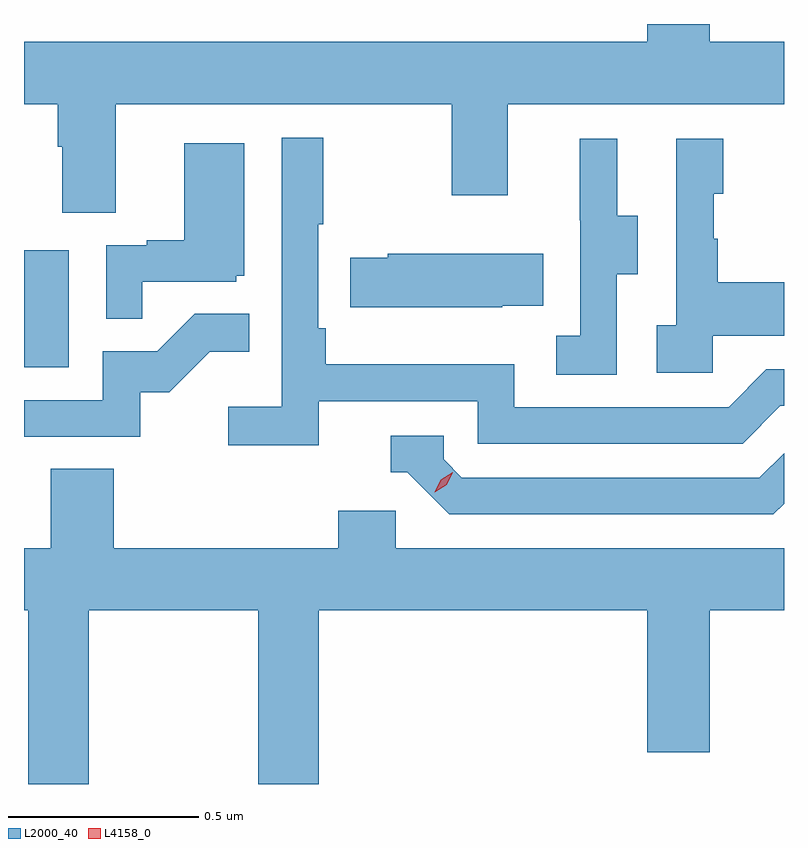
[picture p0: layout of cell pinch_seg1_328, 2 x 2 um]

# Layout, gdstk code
import gdstk
lib = gdstk.Library(unit=1e-6, precision=1e-09)
def R(c, l, rs):  # rectangles x0, y0, x1, y1
    for r in rs: c.add(gdstk.rectangle(r[:2], r[2:], *l))
def P(c, l, *ps):  # polygons
    for p in ps: c.add(gdstk.Polygon(p, *l))
L2000_40 = (2000, 40)
L4158_0 = (4158, 0)

pinch_seg1_328 = lib.new_cell('pinch_seg1_328')
R(pinch_seg1_328, L2000_40, [(990.54,552.372,990.658,552.679)])
P(pinch_seg1_328, L2000_40, [(990.781,553.064),(991.666,553.064),(991.666,552.825),(991.813,552.825),(991.813,553.064),(992.54,553.064),(992.54,553.228),(992.344,553.228),(992.344,553.275),(992.18,553.275),(992.18,553.228),(990.54,553.228),(990.54,553.064),(990.629,553.064),(990.629,552.952),(990.641,552.952),(990.641,552.778),(990.781,552.778)],
  [(991.316,552.282),(991.734,552.282),(991.734,552.171),(992.431,552.171),(992.53,552.27),(992.54,552.27),(992.54,552.366),(992.493,552.366),(992.394,552.267),(991.83,552.267),(991.83,552.379),(991.334,552.379),(991.334,552.475),(991.314,552.475),(991.314,552.748),(991.327,552.748),(991.327,552.976),(991.218,552.976),(991.218,552.268),(991.077,552.268),(991.077,552.166),(991.316,552.166)],
  [(992.1,552.616),(992.155,552.616),(992.155,552.771),(992.101,552.771),(992.101,552.973),(992.003,552.973),(992.003,552.759),(992.004,552.759),(992.004,552.455),(991.941,552.455),(991.941,552.352),(992.1,552.352)],
  [(992.352,552.455),(992.54,552.455),(992.54,552.595),(992.365,552.595),(992.365,552.71),(992.355,552.71),(992.355,552.828),(992.38,552.828),(992.38,552.973),(992.256,552.973),(992.256,552.482),(992.205,552.482),(992.205,552.357),(992.352,552.357)],
  [(990.851,552.597),(991.098,552.597),(991.098,552.612),(991.12,552.612),(991.12,552.961),(990.962,552.961),(990.962,552.706),(990.863,552.706),(990.863,552.693),(990.756,552.693),(990.756,552.499),(990.851,552.499)],
  [(991.799,552.533),(991.907,552.533),(991.907,552.67),(991.497,552.67),(991.497,552.66),(991.399,552.66),(991.399,552.53),(991.799,552.53)],
  [(990.846,552.306),(990.922,552.306),(991.029,552.413),(991.133,552.413),(991.133,552.512),(990.989,552.512),(990.891,552.414),(990.747,552.414),(990.747,552.285),(990.54,552.285),(990.54,552.189),(990.846,552.189)],
  [(992.54,552.013),(992.54,552.146),(992.475,552.081),(991.692,552.081),(991.644,552.129),(991.644,552.192),(991.505,552.192),(991.505,552.096),(991.548,552.096),(991.659,551.985),(992.512,551.985)],
  [(990.711,551.732),(991.156,551.732),(991.156,551.275),(991.316,551.275),(991.316,551.732),(992.18,551.732),(992.18,551.358),(992.344,551.358),(992.344,551.732),(992.54,551.732),(992.54,551.896),(991.518,551.896),(991.518,551.994),(991.367,551.994),(991.367,551.896),(990.776,551.896),(990.776,552.104),(990.611,552.104),(990.611,551.896),(990.54,551.896),(990.54,551.732),(990.551,551.732),(990.551,551.275),(990.711,551.275)])
P(pinch_seg1_328, L4158_0, [(991.621,552.043),(991.621,552.043),(991.637,552.076),(991.668,552.095),(991.668,552.095),(991.668,552.095),(991.652,552.062),(991.621,552.043)])

lib.write_gds('pinch_seg1_328.gds')
